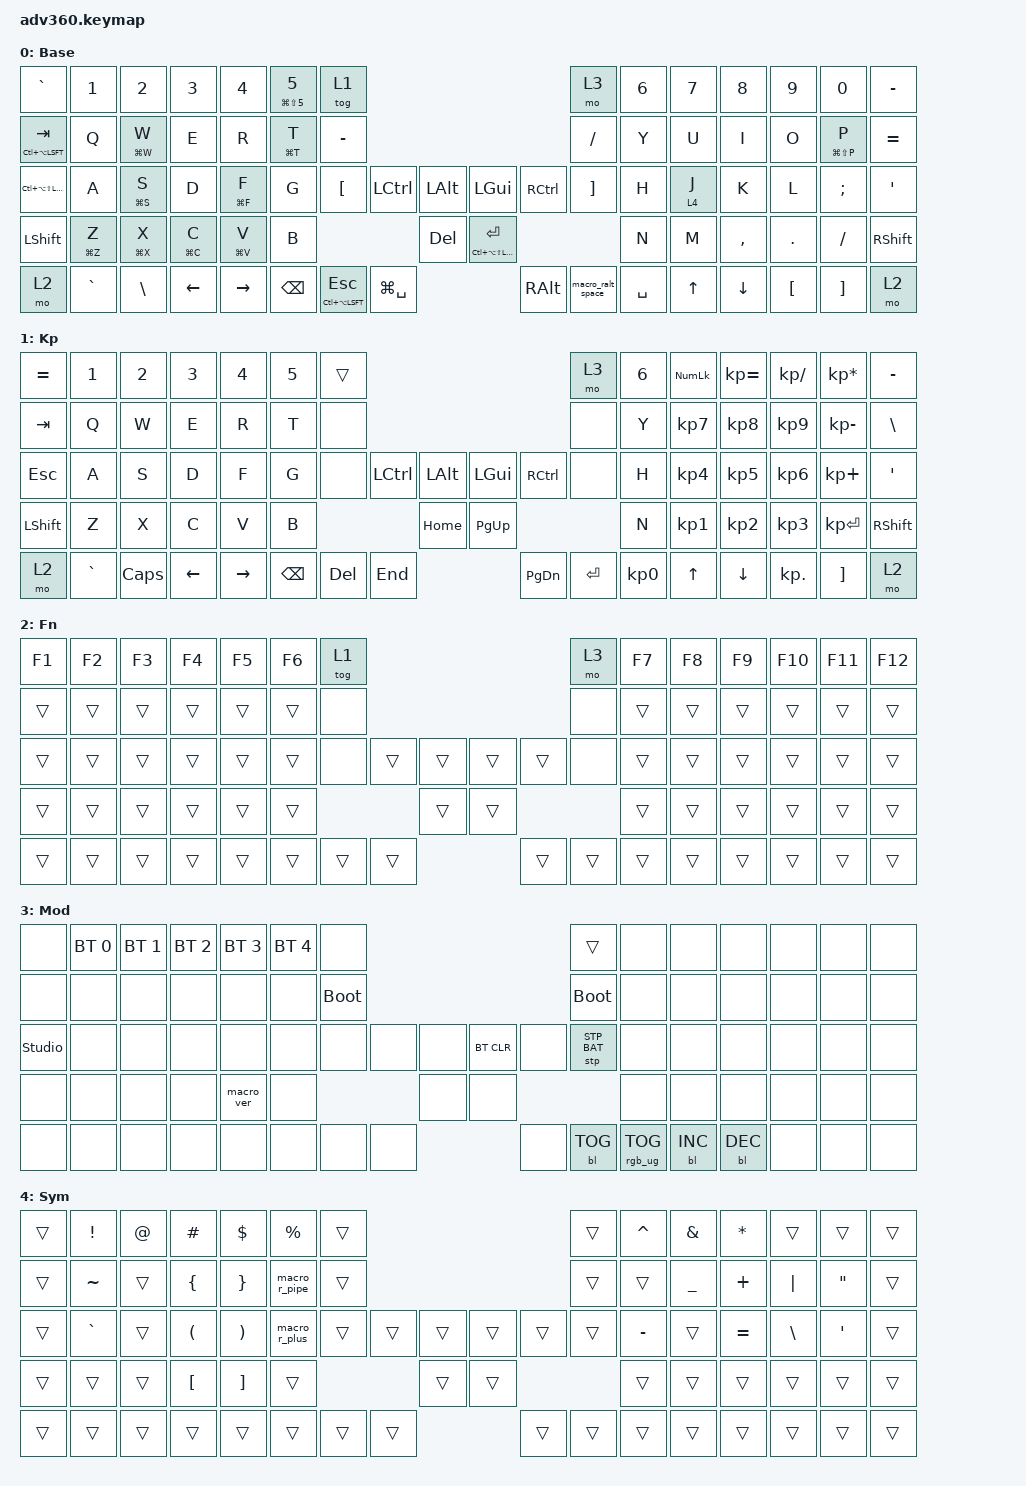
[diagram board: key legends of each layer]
#include <behaviors.dtsi>
#include <dt-bindings/zmk/keys.h>
#include <dt-bindings/zmk/bt.h>
#include <dt-bindings/zmk/rgb.h>
#include <dt-bindings/zmk/stp.h>
#include <dt-bindings/zmk/backlight.h>
#include <dt-bindings/zmk/pointing.h>

/ {
    behaviors {
      #include "macros.dtsi"
      #include "version.dtsi"

      hm: homerow_mods {
          compatible = "zmk,behavior-hold-tap";
          label = "HOMEROW_MODS";
          #binding-cells = <2>;
          tapping-term-ms = <200>;
          quick_tap_ms = <175>;
          flavor = "tap-preferred";
          bindings = <&kp>, <&kp>;
      };

      mac_ht: mac_hold_tap {
          compatible = "zmk,behavior-hold-tap";
          label = "MAC_HOLD_TAP";
          #binding-cells = <2>;
          tapping-term-ms = <300>;
          quick_tap_ms = <200>;
          flavor = "tap-preferred";
          bindings = <&kp>, <&kp>;
      };
    };

  keymap {
    compatible = "zmk,keymap";

    default_layer {
      display-name = "Base";
      bindings = <
        &kp GRAVE            &kp N1              &kp N2              &kp N3              &kp N4              &mac_ht LG(LS(N5)) N5 &tog 1                                                                            &mo 3 &kp N6 &kp N7  &kp N8    &kp N9  &kp N0              &kp MINUS
        &mt LC(LA(LSFT)) TAB &kp Q               &mac_ht LG(W) W     &kp E               &kp R               &mac_ht LG(T) T        &kp MINUS                                                                         &kp FSLH &kp Y  &kp U   &kp I     &kp O   &mac_ht LG(LS(P)) P &kp EQUAL
        &kp LC(LA(LS(LGUI))) &kp A               &mac_ht LG(S) S     &kp D               &mac_ht LG(F) F     &kp G                  &kp LBKT        &kp LCTRL &kp LALT &kp LGUI  &kp RCTRL                          &kp RBKT &kp H  &lt 4 J &kp K     &kp L   &kp SEMI            &kp SQT
        &kp LSHFT            &mac_ht LG(Z) Z     &mac_ht LG(X) X     &mac_ht LG(C) C     &mac_ht LG(V) V     &kp B                                           &kp DEL  &mt LC(LA(LS(LGUI))) ENTER                           &kp N  &kp M   &kp COMMA &kp DOT &kp FSLH            &kp RSHFT
        &mo 2                &kp GRAVE           &kp BSLH            &kp LEFT            &kp RIGHT                          &kp BSPC &mt LC(LA(LSFT)) ESC &kp LG(SPACE)    &kp RALT &macro_ralt_space &kp SPACE              &kp UP  &kp DOWN  &kp LBKT &kp RBKT &mo 2
      >;
    };
    keypad {
      display-name = "Kp";
      bindings = <
        &kp EQUAL &kp N1    &kp N2   &kp N3   &kp N4     &kp N5 &trans                                                           &mo 3 &kp N6 &kp KP_NUM &kp KP_EQUAL &kp KP_DIVIDE &kp KP_MULTIPLY &kp MINUS
        &kp TAB   &kp Q     &kp W    &kp E    &kp R      &kp T  &none                                                            &none &kp Y  &kp KP_N7  &kp KP_N8    &kp KP_N9     &kp KP_MINUS    &kp BSLH
        &kp ESC   &kp A     &kp S    &kp D    &kp F      &kp G  &none           &kp LCTRL &kp LALT &kp LGUI  &kp RCTRL           &none &kp H  &kp KP_N4  &kp KP_N5    &kp KP_N6     &kp KP_PLUS     &kp SQT
        &kp LSHFT &kp Z     &kp X    &kp C    &kp V      &kp B                            &kp HOME &kp PG_UP                           &kp N  &kp KP_N1  &kp KP_N2    &kp KP_N3     &kp KP_ENTER    &kp RSHFT
        &mo 2     &kp GRAVE &kp CAPS &kp LEFT &kp RIGHT                &kp BSPC &kp DEL   &kp END  &kp PG_DN &kp ENTER &kp KP_N0              &kp UP     &kp DOWN     &kp KP_DOT    &kp RBKT        &mo 2
      >;
    };
    fn {
      display-name = "Fn";
      bindings = <
        &kp F1 &kp F2 &kp F3 &kp F4 &kp F5 &kp F6 &tog 1                                           &mo 3 &kp F7 &kp F8 &kp F9 &kp F10 &kp F11 &kp F12
        &trans &trans &trans &trans &trans &trans  &none                                           &none &trans &trans &trans &trans  &trans  &trans
        &trans &trans &trans &trans &trans &trans  &none        &trans &trans &trans &trans        &none &trans &trans &trans &trans  &trans  &trans
        &trans &trans &trans &trans &trans &trans                      &trans &trans                     &trans &trans &trans &trans  &trans  &trans
        &trans &trans &trans &trans &trans               &trans &trans &trans &trans &trans &trans              &trans &trans &trans  &trans  &trans
      >;
    };
    mod {
      display-name = "Mod";
      bindings = <
        &none &bt BT_SEL 0 &bt BT_SEL 1 &bt BT_SEL 2 &bt BT_SEL 3 &bt BT_SEL 4 &none                                                                     &trans                 &none        &none        &none        &none &none &none
        &none &none        &none        &none        &none        &none        &bootloader                                                               &bootloader            &none        &none        &none        &none &none &none
        &studio_unlock &none        &none        &none        &none        &none        &none                   &none &none &bt BT_CLR &none                      &stp STP_BAT &none        &none        &none        &none &none &none
        &none &none        &none        &none        &macro_ver   &none                                      &none &none                                                        &none        &none        &none        &none &none &none
        &none &none        &none        &none        &none                                       &none &none &none &none      &bl BL_TOG &rgb_ug RGB_TOG                                     &bl BL_INC   &bl BL_DEC   &none &none &none
      >;
    };
    extra1 {
      display-name = "Sym";
      bindings = <
        &trans &kp EXCL  &kp AT    &kp HASH  &kp DLLR  &kp PRCNT     &trans                                                           &trans &kp CARET &kp AMPS &kp ASTRK &trans    &trans    &trans
        &trans &kp TILDE &trans    &kp LBRC  &kp RBRC  &macro_r_pipe &trans                                                            &trans &trans    &kp UNDER &kp PLUS &kp PIPE  &kp DQT   &trans
        &trans &kp GRAVE &trans    &kp LPAR  &kp RPAR  &macro_r_plus &trans           &trans    &trans    &trans    &trans              &trans &kp MINUS &trans   &kp EQUAL &kp BSLH  &kp SQT   &trans
        &trans &trans    &trans    &kp LBKT  &kp RBKT  &trans                                   &trans    &trans                              &trans    &trans   &trans    &trans     &trans    &trans
        &trans &trans    &trans    &trans    &trans                   &trans    &trans    &trans    &trans    &trans    &trans                     &trans   &trans    &trans    &trans    &trans
      >;
    };

    extra2 {
      display-name = "Purple";
      status = "reserved";
    };

    extra3 {
      display-name = "Cyan";
      status = "reserved";
    };

    extra4 {
      display-name = "Yellow";
      status = "reserved";
    };
  };
};
